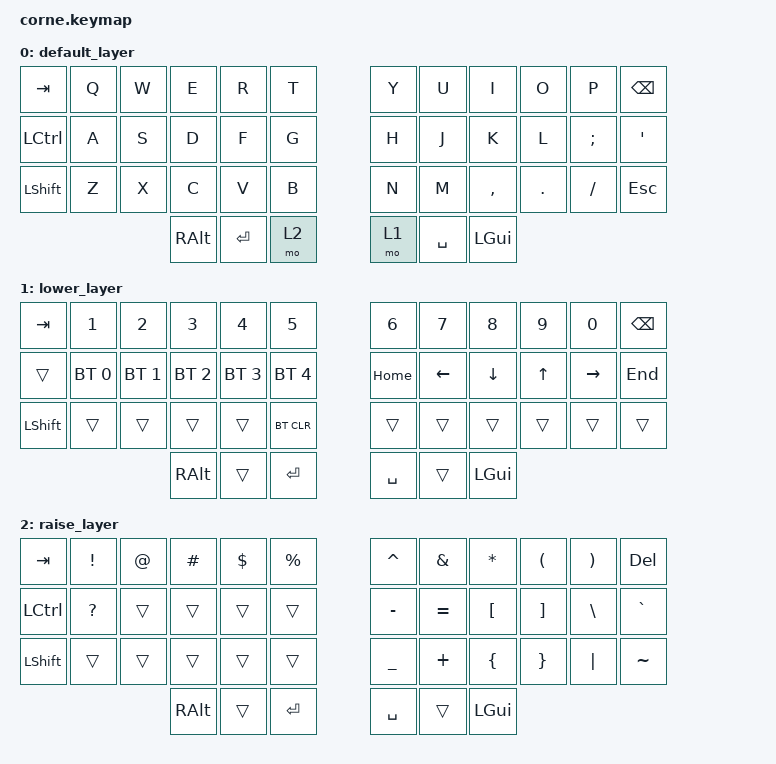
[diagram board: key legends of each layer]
/*
 * Copyright (c) 2020 The ZMK Contributors
 *
 * SPDX-License-Identifier: MIT
 */

#include <behaviors.dtsi>
#include <dt-bindings/zmk/keys.h>
#include <dt-bindings/zmk/bt.h>

/ {
         keymap {
                compatible = "zmk,keymap";

                default_layer {
// -----------------------------------------------------------------------------------------
// |  TAB |  Q  |  W  |  E  |  R  |  T  |   |  Y  |  U   |  I  |  O  |  P  | BKSP |
// | CTRL |  A  |  S  |  D  |  F  |  G  |   |  H  |  J   |  K  |  L  |  ;  |  '   |
// | SHFT |  Z  |  X  |  C  |  V  |  B  |   |  N  |  M   |  ,  |  .  |  /  | ESC  |
//                    | ALT | ENT | LWR |   | RSE | SPC | GUI |
                        bindings = <
   &kp TAB   &kp Q &kp W &kp E &kp R &kp T   &kp Y &kp U  &kp I     &kp O   &kp P    &kp BSPC
   &kp LCTRL &kp A &kp S &kp D &kp F &kp G   &kp H &kp J  &kp K     &kp L   &kp SEMI &kp SQT
   &kp LSHFT &kp Z &kp X &kp C &kp V &kp B   &kp N &kp M  &kp COMMA &kp DOT &kp FSLH &kp ESC
                   &kp RALT &kp RET  &mo 2   &mo 1 &kp SPACE  &kp LGUI
                        >;
                };
                lower_layer {
// -----------------------------------------------------------------------------------------
// |  TAB |  1  |  2  |  3  |  4  |  5  |   |  6  |  7  |  8  |  9  |  0  | BKSP |
// | BTCLR| BT1 | BT2 | BT3 | BT4 | BT5 |   | HOME | LFT | DWN |  UP | RGT | END |
// | SHFT |     |     |     |     |     |   |     |     |      |     |     |      |
//                    | ALT |     | ENT |   | SPC |     | GUI |
                        bindings = <
   &kp TAB    &kp N1       &kp N2       &kp N3       &kp N4       &kp N5         &kp N6   &kp N7   &kp N8 &kp N9    &kp N0 &kp BSPC
   &trans     &bt BT_SEL 0 &bt BT_SEL 1 &bt BT_SEL 2 &bt BT_SEL 3 &bt BT_SEL 4   &kp HOME &kp LEFT &kp DOWN &kp UP &kp RIGHT  &kp END
   &kp LSHFT  &trans       &trans       &trans       &trans       &bt BT_CLR         &trans   &trans   &trans &trans    &trans &trans
                                    &kp RALT     &trans    &kp RET              &kp SPACE   &trans   &kp LGUI
                        >;
                };

                raise_layer {
// -----------------------------------------------------------------------------------------
// |  TAB |  !  |  @  |  #  |  $  |  %  |   |  ^  |  &  |  *  |  (  |  )  | Del |
// | CTRL |  ?  |     |     |     |     |   |  -  |  =  |  [  |  ]  |  \  |  `   |
// | SHFT |     |     |     |     |     |   |  _  |  +  |  {  |  }  | "|" |  ~   |
//                    | ALT |     | ENT |   | SPC |     | GUI |
                        bindings = <
   &kp  TAB  &kp EXCL &kp AT &kp HASH &kp DLLR &kp PRCNT   &kp CARET &kp AMPS  &kp ASTRK &kp LPAR &kp RPAR &kp DEL
   &kp LCTRL &kp QMARK   &trans &trans   &trans   &trans      &kp MINUS &kp EQUAL &kp LBKT  &kp RBKT &kp BSLH &kp GRAVE
   &kp LSHFT &trans   &trans &trans   &trans   &trans      &kp UNDER &kp PLUS  &kp LBRC  &kp RBRC &kp PIPE &kp TILDE
                             &kp RALT     &trans    &kp RET              &kp SPACE   &trans   &kp LGUI
                        >;
                };
        };
};
/{kscan0: kscan {
        compatible = "zmk,kscan-gpio-matrix";
        wakeup-source;

        diode-direction = "col2row";
        row-gpios
            = <&pro_micro 2 (GPIO_ACTIVE_HIGH | GPIO_PULL_DOWN)>
            , <&pro_micro 5 (GPIO_ACTIVE_HIGH | GPIO_PULL_DOWN)>
            , <&pro_micro 6 (GPIO_ACTIVE_HIGH | GPIO_PULL_DOWN)>
            , <&pro_micro 7 (GPIO_ACTIVE_HIGH | GPIO_PULL_DOWN)>
            ;

    };
};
